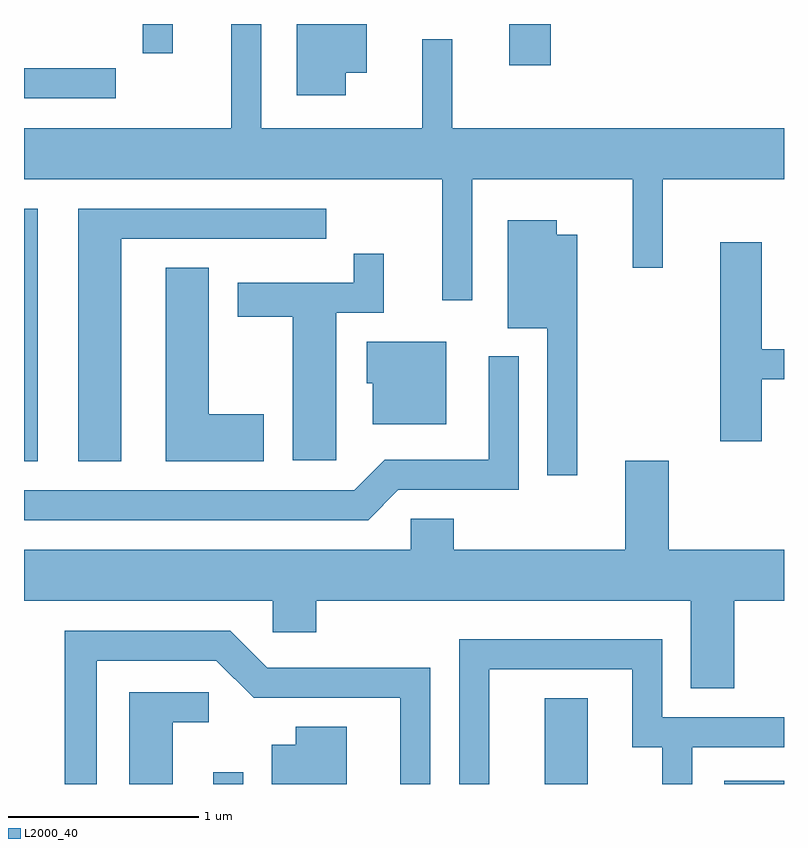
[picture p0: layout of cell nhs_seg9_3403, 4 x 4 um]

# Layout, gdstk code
import gdstk
lib = gdstk.Library(unit=1e-6, precision=1e-09)
def R(c, l, rs):  # rectangles x0, y0, x1, y1
    for r in rs: c.add(gdstk.rectangle(r[:2], r[2:], *l))
def P(c, l, *ps):  # polygons
    for p in ps: c.add(gdstk.Polygon(p, *l))
L2000_40 = (2000, 40)

nhs_seg9_3403 = lib.new_cell('nhs_seg9_3403')
R(nhs_seg9_3403, L2000_40, [(286.606,1966.432,286.764,1966.493), (288.351,1966.432,288.579,1966.884), (289.296,1966.432,289.611,1966.449), (285.611,1968.131,285.684,1969.459), (285.611,1970.041,286.093,1970.199), (288.166,1970.216,288.384,1970.432)])
P(nhs_seg9_3403, L2000_40, [(286.394,1970.432),(285.626,1970.432),(285.626,1970.431),(286.236,1970.431),(286.236,1970.278),(286.394,1970.278)],
  [(287.969,1969.616),(288.816,1969.616),(288.816,1969.148),(288.974,1969.148),(288.974,1969.616),(289.611,1969.616),(289.611,1969.884),(287.864,1969.884),(287.864,1970.353),(287.706,1970.353),(287.706,1969.884),(286.859,1969.884),(286.859,1970.432),(286.701,1970.432),(286.701,1969.884),(285.611,1969.884),(285.611,1969.616),(287.811,1969.616),(287.811,1968.978),(287.969,1968.978)],
  [(287.304,1970.176),(287.414,1970.176),(287.414,1970.432),(287.046,1970.432),(287.046,1970.056),(287.304,1970.056)],
  [(286.124,1969.301),(287.203,1969.301),(287.203,1969.459),(285.896,1969.459),(285.896,1968.131),(286.124,1968.131)],
  [(288.524,1969.324),(288.414,1969.324),(288.414,1969.399),(288.156,1969.399),(288.156,1968.831),(288.366,1968.831),(288.366,1968.058),(288.524,1968.058)],
  [(289.494,1968.561),(289.611,1968.561),(289.611,1968.719),(289.494,1968.719),(289.494,1969.284),(289.276,1969.284),(289.276,1968.236),(289.494,1968.236)],
  [(287.254,1968.911),(287.504,1968.911),(287.504,1969.223),(287.346,1969.223),(287.346,1969.069),(286.736,1969.069),(286.736,1968.891),(287.026,1968.891),(287.026,1968.136),(287.254,1968.136)],
  [(286.874,1968.379),(286.584,1968.379),(286.584,1969.149),(286.356,1969.149),(286.356,1968.131),(286.874,1968.131)],
  [(287.834,1968.759),(287.416,1968.759),(287.416,1968.541),(287.446,1968.541),(287.446,1968.326),(287.834,1968.326)],
  [(287.582,1967.981),(288.214,1967.981),(288.214,1968.683),(288.056,1968.683),(288.056,1968.139),(287.509,1968.139),(287.349,1967.979),(285.611,1967.979),(285.611,1967.821),(287.422,1967.821)],
  [(289.349,1967.396),(289.611,1967.396),(289.611,1967.664),(289.004,1967.664),(289.004,1968.134),(288.776,1968.134),(288.776,1967.664),(287.874,1967.664),(287.874,1967.829),(287.646,1967.829),(287.646,1967.664),(285.611,1967.664),(285.611,1967.396),(286.921,1967.396),(286.921,1967.231),(287.149,1967.231),(287.149,1967.396),(289.121,1967.396),(289.121,1966.936),(289.349,1966.936)],
  [(285.994,1967.081),(286.624,1967.081),(286.819,1966.886),(287.591,1966.886),(287.591,1966.432),(287.749,1966.432),(287.749,1967.044),(286.892,1967.044),(286.697,1967.239),(285.826,1967.239),(285.826,1966.432),(285.994,1966.432)],
  [(288.059,1967.036),(288.811,1967.036),(288.811,1966.626),(288.971,1966.626),(288.971,1966.432),(289.129,1966.432),(289.129,1966.626),(289.611,1966.626),(289.611,1966.784),(288.969,1966.784),(288.969,1967.194),(287.901,1967.194),(287.901,1966.432),(288.059,1966.432)],
  [(286.394,1966.756),(286.583,1966.756),(286.583,1966.914),(286.166,1966.914),(286.166,1966.432),(286.394,1966.432)],
  [(287.309,1966.734),(287.041,1966.734),(287.041,1966.639),(286.916,1966.639),(286.916,1966.432),(287.309,1966.432)])

lib.write_gds('nhs_seg9_3403.gds')
